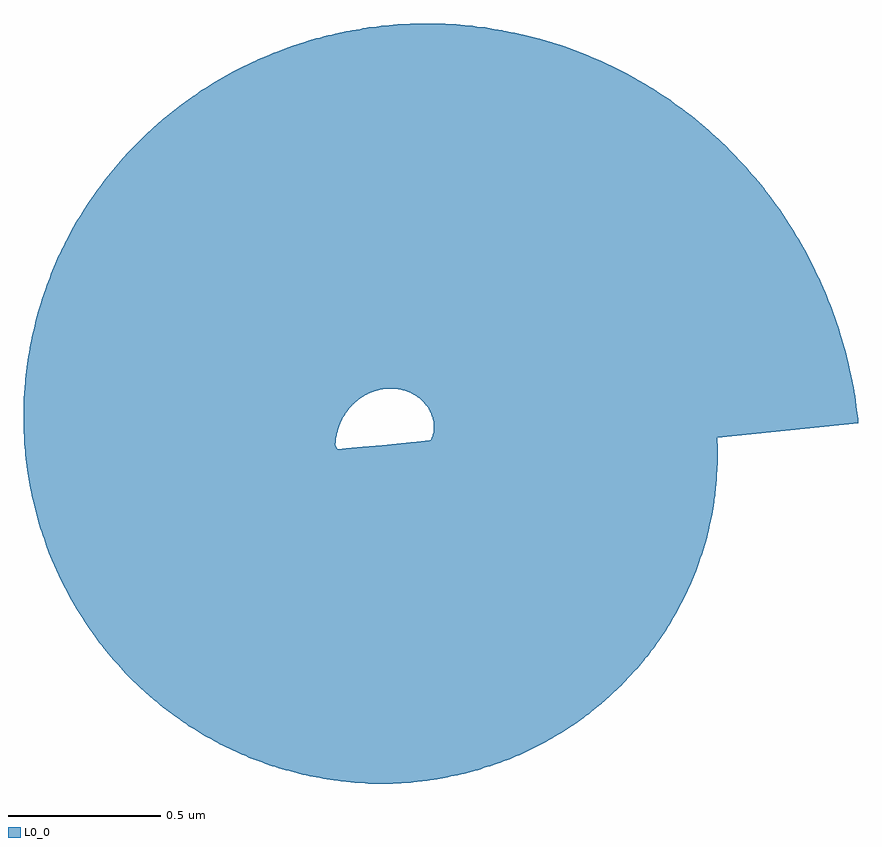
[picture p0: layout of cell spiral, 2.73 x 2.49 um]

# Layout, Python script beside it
import numpy as np
import gdspy

# Define the parameters
t_start = 0
t_end = 6 * np.pi
t_step = 0.01
line_width = 1
num_points = int((t_end - t_start) / t_step)

# Generate the parametric spiral
t = np.linspace(t_start, t_end, num_points)
r = np.exp(-0.1 * t)
x = r * np.cos(t)
y = r * np.sin(t)

# Create the GDS library and cell
lib = gdspy.GdsLibrary()
cell = lib.new_cell('spiral')

# Create the spiral path
path = gdspy.FlexPath(np.column_stack((x, y)),
                      line_width,
                      layer=0,
                      datatype=0)

# Add the path to the cell
cell.add(path)

# Save the GDS file
lib.write_gds('spiral.gds')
